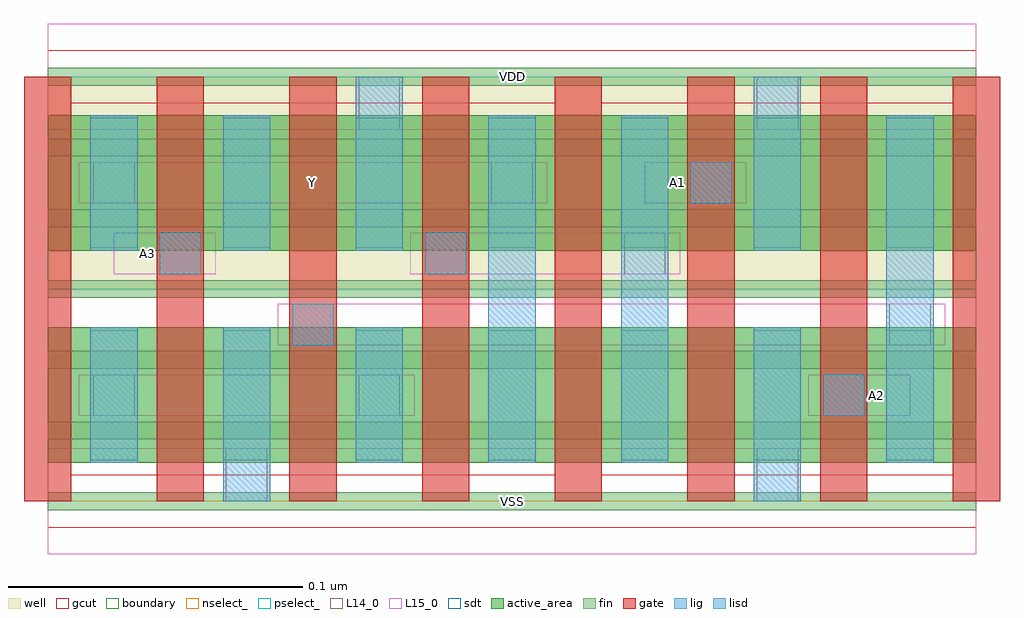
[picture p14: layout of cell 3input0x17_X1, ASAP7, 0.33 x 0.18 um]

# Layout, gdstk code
import gdstk
lib = gdstk.Library(unit=1e-6, precision=2.5e-10)
def R(c, l, rs):  # rectangles x0, y0, x1, y1
    for r in rs: c.add(gdstk.rectangle(r[:2], r[2:], *l))
def A(c, l, x, y, w, h, nx, ny, dx, dy):  # array of equal rectangles
    R(c, l, [(x+i*dx, y+j*dy, x+i*dx+w, y+j*dy+h) for i in range(nx) for j in range(ny)])
def P(c, l, *ps):  # polygons
    for p in ps: c.add(gdstk.Polygon(p, *l))
well = (1, 0)
fin = (2, 0)
gate = (7, 0)
gcut = (10, 0)
active_area = (11, 0)
nselect_ = (12, 0)
pselect_ = (13, 0)
L14_0 = (14, 0)
L15_0 = (15, 0)
lig = (16, 0)
lisd = (17, 0)
sdt = (88, 0)
boundary = (100, 0)

c_3input0x17_x1 = lib.new_cell('3input0x17_X1')
R(c_3input0x17_x1, well, [(0,0.072,0.315,0.144)])
A(c_3input0x17_x1, fin, 0, -0.003, 0.315, 0.006, 1, 7, 0, 0.024)
A(c_3input0x17_x1, gate, -0.008, 0, 0.016, 0.144, 8, 1, 0.045, 0)
P(c_3input0x17_x1, gcut, [(0,-0.009),(0,0),(-0.008,0),(-0.008,0.135),(0.008,0.135),(0.008,0.009),(0.172,0.009),(0.172,0.135),(0.188,0.135),(0.188,0.009),(0.307,0.009),(0.307,0.135),(-0.008,0.135),(-0.008,0.144),(0,0.144),(0,0.153),(0.315,0.153),(0.315,0.144),(0.323,0.144),(0.323,0),(0.315,0),(0.315,-0.009)])
R(c_3input0x17_x1, active_area, [(0,0.013,0.315,0.059), (0,0.085,0.315,0.131)])
R(c_3input0x17_x1, nselect_, [(0,0,0.315,0.072)])
R(c_3input0x17_x1, pselect_, [(0,0.072,0.315,0.144)])
R(c_3input0x17_x1, L14_0, [(0.0605,0,0.0745,0.018), (0.2405,0,0.2545,0.018), (0.0155,0.029,0.0295,0.043), (0.1055,0.029,0.1195,0.043), (0.263,0.029,0.277,0.043), (0.083,0.053,0.097,0.067), (0.2855,0.053,0.2995,0.067), (0.038,0.077,0.052,0.091), (0.128,0.077,0.142,0.091), (0.1955,0.077,0.2095,0.091), (0.0155,0.101,0.0295,0.115), (0.1505,0.101,0.1645,0.115), (0.218,0.101,0.232,0.115), (0.1055,0.126,0.1195,0.144), (0.2405,0.126,0.2545,0.144)])
R(c_3input0x17_x1, L15_0, [(0,-0.018,0.315,0.018), (0.0105,0.029,0.1245,0.043), (0.258,0.029,0.2925,0.043), (0.078,0.053,0.3045,0.067), (0.0225,0.077,0.057,0.091), (0.123,0.077,0.2145,0.091), (0.0105,0.101,0.1695,0.115), (0.2025,0.101,0.237,0.115), (0,0.126,0.315,0.162)])
R(c_3input0x17_x1, lig, [(0.263,0.029,0.277,0.043), (0.083,0.053,0.097,0.067), (0.038,0.077,0.052,0.091), (0.128,0.077,0.142,0.091), (0.218,0.101,0.232,0.115)])
R(c_3input0x17_x1, lisd, [(0.0595,0,0.0755,0.059), (0.2395,0,0.2555,0.059), (0.0145,0.013,0.0305,0.059), (0.1045,0.013,0.1205,0.059), (0.1495,0.013,0.1655,0.131), (0.1945,0.013,0.2105,0.131), (0.2845,0.013,0.3005,0.131), (0.0145,0.085,0.0305,0.131), (0.0595,0.085,0.0755,0.131), (0.1045,0.085,0.1205,0.144), (0.2395,0.085,0.2555,0.144)])
A(c_3input0x17_x1, sdt, 0.0145, 0.014, 0.016, 0.044, 7, 2, 0.045, 0.072)
R(c_3input0x17_x1, boundary, [(0,0,0.315,0.144)])
c_3input0x17_x1.add(gdstk.Label('A2', (0.2813,0.036), layer=15, texttype=251))
c_3input0x17_x1.add(gdstk.Label('VSS', (0.1575,0), layer=15, texttype=251))
c_3input0x17_x1.add(gdstk.Label('VDD', (0.1575,0.144), layer=15, texttype=251))
c_3input0x17_x1.add(gdstk.Label('Y', (0.09,0.108), layer=15, texttype=251))
c_3input0x17_x1.add(gdstk.Label('VSS', (0.1575,0), layer=15, texttype=251))
c_3input0x17_x1.add(gdstk.Label('VDD', (0.1575,0.144), layer=15, texttype=251))
c_3input0x17_x1.add(gdstk.Label('A3', (0.0338,0.084), layer=15, texttype=251))
c_3input0x17_x1.add(gdstk.Label('VSS', (0.1575,0), layer=15, texttype=251))
c_3input0x17_x1.add(gdstk.Label('VDD', (0.1575,0.144), layer=15, texttype=251))
c_3input0x17_x1.add(gdstk.Label('A1', (0.2138,0.108), layer=15, texttype=251))
c_3input0x17_x1.add(gdstk.Label('VSS', (0.1575,0), layer=15, texttype=251))
c_3input0x17_x1.add(gdstk.Label('VDD', (0.1575,0.144), layer=15, texttype=251))
c_3input0x17_x1.add(gdstk.Label('VSS', (0.1575,0), layer=3, texttype=251))
c_3input0x17_x1.add(gdstk.Label('VSS', (0.1575,0), layer=3, texttype=251))
c_3input0x17_x1.add(gdstk.Label('VSS', (0.1575,0), layer=3, texttype=251))
c_3input0x17_x1.add(gdstk.Label('VSS', (0.1575,0), layer=3, texttype=251))
c_3input0x17_x1.add(gdstk.Label('VDD', (0.1575,0.144), layer=1, texttype=251))
c_3input0x17_x1.add(gdstk.Label('VDD', (0.1575,0.144), layer=1, texttype=251))
c_3input0x17_x1.add(gdstk.Label('VDD', (0.1575,0.144), layer=1, texttype=251))
c_3input0x17_x1.add(gdstk.Label('VDD', (0.1575,0.144), layer=1, texttype=251))

lib.write_gds('3input0x17_X1.gds')
